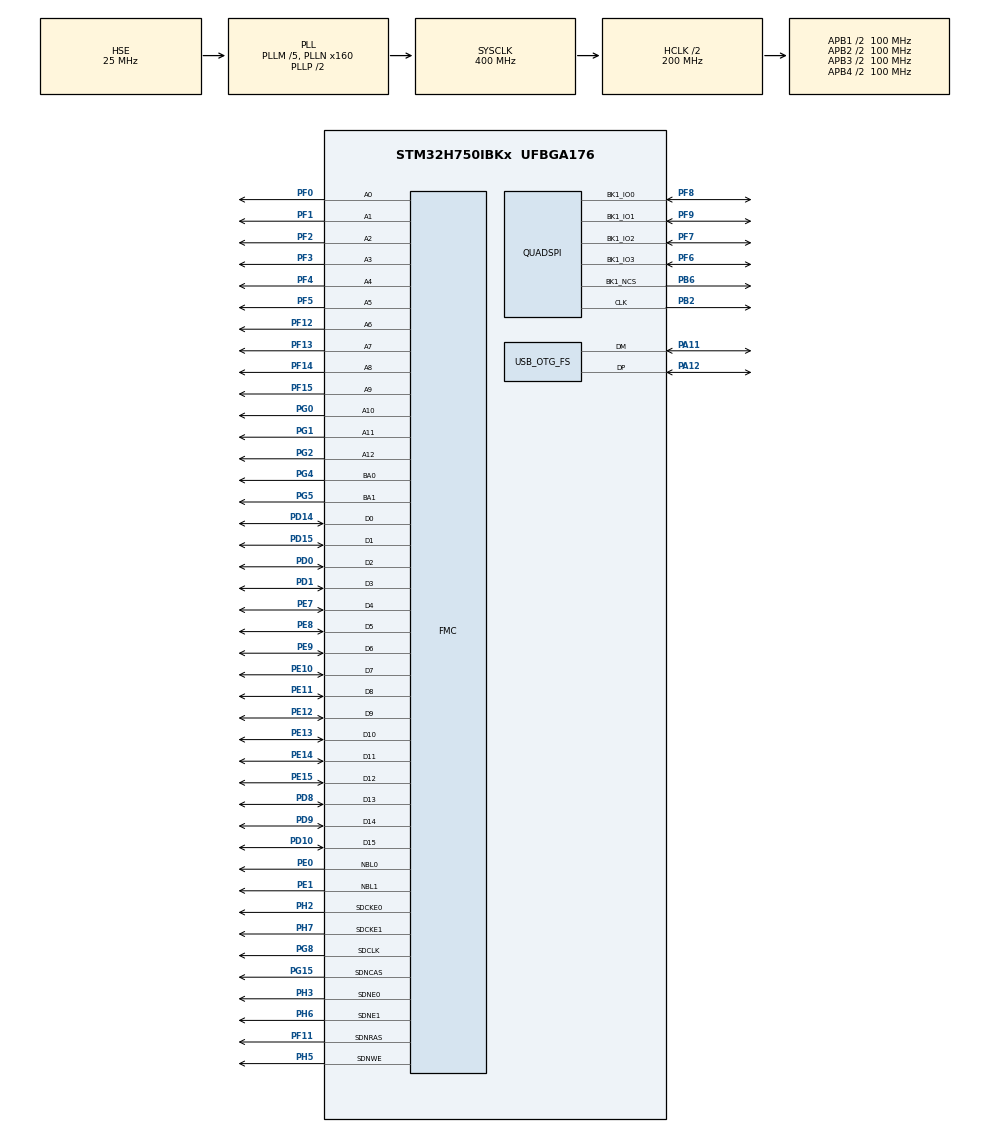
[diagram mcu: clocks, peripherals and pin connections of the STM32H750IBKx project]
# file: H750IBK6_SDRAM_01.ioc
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CORTEX_M7.AccessPermission-Cortex_Memory_Protection_Unit_Region0_Settings=MPU_REGION_FULL_ACCESS
CORTEX_M7.AccessPermission-Cortex_Memory_Protection_Unit_Region1_Settings=MPU_REGION_FULL_ACCESS
CORTEX_M7.AccessPermission-Cortex_Memory_Protection_Unit_Region2_Settings=MPU_REGION_FULL_ACCESS
CORTEX_M7.AccessPermission-Cortex_Memory_Protection_Unit_Region3_Settings=MPU_REGION_FULL_ACCESS
CORTEX_M7.AccessPermission-Cortex_Memory_Protection_Unit_Region4_Settings=MPU_REGION_FULL_ACCESS
CORTEX_M7.AccessPermission-Cortex_Memory_Protection_Unit_Region5_Settings=MPU_REGION_FULL_ACCESS
CORTEX_M7.AccessPermission-Cortex_Memory_Protection_Unit_Region6_Settings=MPU_REGION_FULL_ACCESS
CORTEX_M7.AccessPermission-Cortex_Memory_Protection_Unit_Region7_Settings=MPU_REGION_FULL_ACCESS
CORTEX_M7.AccessPermission-Cortex_Memory_Protection_Unit_Region8_Settings=MPU_REGION_FULL_ACCESS
CORTEX_M7.BaseAddress-Cortex_Memory_Protection_Unit_Region0_Settings=0x24000000
CORTEX_M7.BaseAddress-Cortex_Memory_Protection_Unit_Region1_Settings=0x60000000
CORTEX_M7.BaseAddress-Cortex_Memory_Protection_Unit_Region2_Settings=0x30000000
CORTEX_M7.BaseAddress-Cortex_Memory_Protection_Unit_Region3_Settings=0x30020000
CORTEX_M7.BaseAddress-Cortex_Memory_Protection_Unit_Region4_Settings=0x30040000
CORTEX_M7.BaseAddress-Cortex_Memory_Protection_Unit_Region5_Settings=0x38000000
CORTEX_M7.BaseAddress-Cortex_Memory_Protection_Unit_Region6_Settings=0x90000000
CORTEX_M7.BaseAddress-Cortex_Memory_Protection_Unit_Region7_Settings=SDRAM_BANK1_ADDR
CORTEX_M7.BaseAddress-Cortex_Memory_Protection_Unit_Region8_Settings=SDRAM_BANK2_ADDR
CORTEX_M7.CPU_DCache=Enabled
CORTEX_M7.CPU_ICache=Enabled
CORTEX_M7.Enable-Cortex_Memory_Protection_Unit_Region0_Settings=MPU_REGION_ENABLE
CORTEX_M7.Enable-Cortex_Memory_Protection_Unit_Region1_Settings=MPU_REGION_ENABLE
CORTEX_M7.Enable-Cortex_Memory_Protection_Unit_Region2_Settings=MPU_REGION_ENABLE
CORTEX_M7.Enable-Cortex_Memory_Protection_Unit_Region3_Settings=MPU_REGION_ENABLE
CORTEX_M7.Enable-Cortex_Memory_Protection_Unit_Region4_Settings=MPU_REGION_ENABLE
CORTEX_M7.Enable-Cortex_Memory_Protection_Unit_Region5_Settings=MPU_REGION_ENABLE
CORTEX_M7.Enable-Cortex_Memory_Protection_Unit_Region6_Settings=MPU_REGION_ENABLE
CORTEX_M7.Enable-Cortex_Memory_Protection_Unit_Region7_Settings=MPU_REGION_ENABLE
CORTEX_M7.Enable-Cortex_Memory_Protection_Unit_Region8_Settings=MPU_REGION_ENABLE
CORTEX_M7.IsBufferable-Cortex_Memory_Protection_Unit_Region0_Settings=MPU_ACCESS_BUFFERABLE
CORTEX_M7.IsBufferable-Cortex_Memory_Protection_Unit_Region1_Settings=MPU_ACCESS_BUFFERABLE
CORTEX_M7.IsBufferable-Cortex_Memory_Protection_Unit_Region6_Settings=MPU_ACCESS_BUFFERABLE
CORTEX_M7.IsCacheable-Cortex_Memory_Protection_Unit_Region0_Settings=MPU_ACCESS_CACHEABLE
CORTEX_M7.IsCacheable-Cortex_Memory_Protection_Unit_Region2_Settings=MPU_ACCESS_CACHEABLE
CORTEX_M7.IsCacheable-Cortex_Memory_Protection_Unit_Region3_Settings=MPU_ACCESS_CACHEABLE
CORTEX_M7.IsCacheable-Cortex_Memory_Protection_Unit_Region4_Settings=MPU_ACCESS_CACHEABLE
CORTEX_M7.IsCacheable-Cortex_Memory_Protection_Unit_Region5_Settings=MPU_ACCESS_CACHEABLE
CORTEX_M7.IsCacheable-Cortex_Memory_Protection_Unit_Region6_Settings=MPU_ACCESS_CACHEABLE
CORTEX_M7.IsCacheable-Cortex_Memory_Protection_Unit_Region7_Settings=MPU_ACCESS_CACHEABLE
CORTEX_M7.IsCacheable-Cortex_Memory_Protection_Unit_Region8_Settings=MPU_ACCESS_CACHEABLE
CORTEX_M7.MPU_Control=MPU_PRIVILEGED_DEFAULT
CORTEX_M7.Size-Cortex_Memory_Protection_Unit_Region0_Settings=MPU_REGION_SIZE_512KB
CORTEX_M7.Size-Cortex_Memory_Protection_Unit_Region1_Settings=MPU_REGION_SIZE_256MB
CORTEX_M7.Size-Cortex_Memory_Protection_Unit_Region2_Settings=MPU_REGION_SIZE_128KB
CORTEX_M7.Size-Cortex_Memory_Protection_Unit_Region3_Settings=MPU_REGION_SIZE_128KB
CORTEX_M7.Size-Cortex_Memory_Protection_Unit_Region4_Settings=MPU_REGION_SIZE_32KB
CORTEX_M7.Size-Cortex_Memory_Protection_Unit_Region5_Settings=MPU_REGION_SIZE_64KB
CORTEX_M7.Size-Cortex_Memory_Protection_Unit_Region6_Settings=MPU_REGION_SIZE_32MB
CORTEX_M7.Size-Cortex_Memory_Protection_Unit_Region7_Settings=MPU_REGION_SIZE_32MB
CORTEX_M7.Size-Cortex_Memory_Protection_Unit_Region8_Settings=MPU_REGION_SIZE_32MB
CORTEX_M7.TypeExtField-Cortex_Memory_Protection_Unit_Region0_Settings=MPU_TEX_LEVEL1
CORTEX_M7.TypeExtField-Cortex_Memory_Protection_Unit_Region6_Settings=MPU_TEX_LEVEL1
CORTEX_M7.default_mode_Activation=0
FMC.CASLatency1=FMC_SDRAM_CAS_LATENCY_3
FMC.CASLatency2=FMC_SDRAM_CAS_LATENCY_3
FMC.ColumnBitsNumber1=FMC_SDRAM_COLUMN_BITS_NUM_9
FMC.ColumnBitsNumber2=FMC_SDRAM_COLUMN_BITS_NUM_9
FMC.ExitSelfRefreshDelay1=7
FMC.ExitSelfRefreshDelay2=7
FMC.LoadToActiveDelay1=2
FMC.LoadToActiveDelay2=2
FMC.RCDDelay1=2
FMC.RCDDelay2=2
FMC.RPDelay1=2
FMC.RPDelay2=2
FMC.ReadBurst1=FMC_SDRAM_RBURST_ENABLE
FMC.ReadBurst2=FMC_SDRAM_RBURST_ENABLE
FMC.ReadPipeDelay1=FMC_SDRAM_RPIPE_DELAY_1
FMC.ReadPipeDelay2=FMC_SDRAM_RPIPE_DELAY_1
FMC.RowCycleDelay1=6
FMC.RowCycleDelay2=6
FMC.SDClockPeriod1=FMC_SDRAM_CLOCK_PERIOD_2
FMC.SDClockPeriod2=FMC_SDRAM_CLOCK_PERIOD_2
FMC.SelfRefreshTime1=4
FMC.SelfRefreshTime2=4
FMC.WriteRecoveryTime1=2
FMC.WriteRecoveryTime2=2
FREERTOS.Tasks01=defaultTask,24,512,StartDefaultTask,Default,NULL,Dynamic,NULL,NULL
FREERTOS.configGENERATE_RUN_TIME_STATS=1
FREERTOS.configMAX_TASK_NAME_LEN=32
FREERTOS.configTOTAL_HEAP_SIZE=65536
FREERTOS.configUSE_NEWLIB_REENTRANT=1
FREERTOS.configUSE_STATS_FORMATTING_FUNCTIONS=1
FREERTOS.copyHeapFile=0
Mcu.Family=STM32H7
Mcu.Name=STM32H750IBKx
Mcu.Package=UFBGA176
Mcu.UserConstants=QSPI_FLASH_SIZE_2N_OFFSET,0;SDRAM_BANK1_ADDR,0xC0000000;SDRAM_BANK2_ADDR,0xD0000000
NVIC.OTG_FS_IRQn=true\:5\:0\:false\:false\:true\:true\:false\:true\:true
NVIC.PriorityGroup=NVIC_PRIORITYGROUP_4
NVIC.TIM6_DAC_IRQn=true\:15\:0\:false\:false\:true\:false\:true\:true\:true
NVIC.TIM7_IRQn=true\:5\:0\:false\:false\:true\:false\:true\:true\:true
NVIC.TimeBase=TIM6_DAC_IRQn
NVIC.TimeBaseIP=TIM6
PA11.Mode=Device_Only
PA11.Signal=USB_OTG_FS_DM
PA12.Mode=Device_Only
PA12.Signal=USB_OTG_FS_DP
PA13\ (JTMS/SWDIO).Mode=Serial_Wire
PA13\ (JTMS/SWDIO).Signal=DEBUG_JTMS-SWDIO
PA14\ (JTCK/SWCLK).Mode=Serial_Wire
PA14\ (JTCK/SWCLK).Signal=DEBUG_JTCK-SWCLK
PB2.GPIO_Speed=GPIO_SPEED_FREQ_VERY_HIGH
PB2.Mode=Single Bank 1
PB2.Signal=QUADSPI_CLK
PB6.GPIO_Speed=GPIO_SPEED_FREQ_VERY_HIGH
PB6.Mode=Single Bank 1
PB6.Signal=QUADSPI_BK1_NCS
PC14-OSC32_IN\ (OSC32_IN).Mode=LSE-External-Oscillator
PC14-OSC32_IN\ (OSC32_IN).Signal=RCC_OSC32_IN
PC15-OSC32_OUT\ (OSC32_OUT).Mode=LSE-External-Oscillator
PC15-OSC32_OUT\ (OSC32_OUT).Signal=RCC_OSC32_OUT
PD0.Signal=FMC_D2_DA2
PD1.Signal=FMC_D3_DA3
PD10.Signal=FMC_D15_DA15
PD14.Signal=FMC_D0_DA0
PD15.Signal=FMC_D1_DA1
PD8.Signal=FMC_D13_DA13
PD9.Signal=FMC_D14_DA14
PE0.Signal=FMC_NBL0
PE1.Signal=FMC_NBL1
PE10.Signal=FMC_D7_DA7
PE11.Signal=FMC_D8_DA8
PE12.Signal=FMC_D9_DA9
PE13.Signal=FMC_D10_DA10
PE14.Signal=FMC_D11_DA11
PE15.Signal=FMC_D12_DA12
PE7.Signal=FMC_D4_DA4
PE8.Signal=FMC_D5_DA5
PE9.Signal=FMC_D6_DA6
PF0.Signal=FMC_A0
PF1.Signal=FMC_A1
PF11.Signal=FMC_SDNRAS
PF12.Signal=FMC_A6
PF13.Signal=FMC_A7
PF14.Signal=FMC_A8
PF15.Signal=FMC_A9
PF2.Signal=FMC_A2
PF3.Signal=FMC_A3
PF4.Signal=FMC_A4
PF5.Signal=FMC_A5
PF6.GPIO_Speed=GPIO_SPEED_FREQ_VERY_HIGH
PF6.Mode=Single Bank 1
PF6.Signal=QUADSPI_BK1_IO3
PF7.GPIO_Speed=GPIO_SPEED_FREQ_VERY_HIGH
PF7.Mode=Single Bank 1
PF7.Signal=QUADSPI_BK1_IO2
PF8.GPIO_Speed=GPIO_SPEED_FREQ_VERY_HIGH
PF8.Mode=Single Bank 1
PF8.Signal=QUADSPI_BK1_IO0
PF9.GPIO_Speed=GPIO_SPEED_FREQ_VERY_HIGH
PF9.Mode=Single Bank 1
PF9.Signal=QUADSPI_BK1_IO1
PG0.Signal=FMC_A10
PG1.Signal=FMC_A11
PG15.Signal=FMC_SDNCAS
PG2.Signal=FMC_A12
PG4.Signal=FMC_A14_BA0
PG5.Signal=FMC_A15_BA1
PG8.Signal=FMC_SDCLK
PH0-OSC_IN\ (PH0).Mode=HSE-External-Clock-Source
PH0-OSC_IN\ (PH0).Signal=RCC_OSC_IN
PH2.Mode=SdramChipSelect1_1
PH2.Signal=FMC_SDCKE0
PH3.Mode=SdramChipSelect1_1
PH3.Signal=FMC_SDNE0
PH5.Signal=FMC_SDNWE
PH6.Mode=SdramChipSelect2_2
PH6.Signal=FMC_SDNE1
PH7.Mode=SdramChipSelect2_2
PH7.Signal=FMC_SDCKE1
ProjectManager.HeapSize=0x200
ProjectManager.StackSize=0x400
ProjectManager.TargetToolchain=STM32CubeIDE
QUADSPI.ChipSelectHighTime=QSPI_CS_HIGH_TIME_2_CYCLE
QUADSPI.ClockPrescaler=1
QUADSPI.FifoThreshold=32
QUADSPI.FlashSize=QSPI_FLASH_SIZE_2N_OFFSET
QUADSPI.SampleShifting=QSPI_SAMPLE_SHIFTING_HALFCYCLE
RCC.ADCFreq_Value=50390625
RCC.APB1Freq_Value=100000000
RCC.APB2Freq_Value=100000000
RCC.APB3Freq_Value=100000000
RCC.APB4Freq_Value=100000000
RCC.CortexFreq_Value=400000000
RCC.D1PPRE=RCC_APB3_DIV2
RCC.D2PPRE1=RCC_APB1_DIV2
RCC.D2PPRE2=RCC_APB2_DIV2
RCC.D3PPRE=RCC_APB4_DIV2
RCC.DIVM1=5
RCC.DIVM3=25
RCC.DIVN1=160
RCC.DIVN3=240
RCC.DIVQ3=5
RCC.HCLKFreq_Value=200000000
RCC.HPRE=RCC_HCLK_DIV2
RCC.PLLSourceVirtual=RCC_PLLSOURCE_HSE
RCC.SYSCLKFreq_VALUE=400000000
RCC.SYSCLKSource=RCC_SYSCLKSOURCE_PLLCLK
RCC.USBCLockSelection=RCC_USBCLKSOURCE_HSI48
RCC.USBFreq_Value=48000000
SH.FMC_A0.0=FMC_A0,13b-sda1
SH.FMC_A0.1=FMC_A0,13b-sda2
SH.FMC_A1.0=FMC_A1,13b-sda1
SH.FMC_A1.1=FMC_A1,13b-sda2
SH.FMC_A10.0=FMC_A10,13b-sda1
SH.FMC_A10.1=FMC_A10,13b-sda2
SH.FMC_A11.0=FMC_A11,13b-sda1
SH.FMC_A11.1=FMC_A11,13b-sda2
SH.FMC_A12.0=FMC_A12,13b-sda1
SH.FMC_A12.1=FMC_A12,13b-sda2
SH.FMC_A14_BA0.0=FMC_BA0,FourSdramBanks1
SH.FMC_A14_BA0.1=FMC_BA0,FourSdramBanks2
SH.FMC_A15_BA1.0=FMC_BA1,FourSdramBanks1
SH.FMC_A15_BA1.1=FMC_BA1,FourSdramBanks2
SH.FMC_A2.0=FMC_A2,13b-sda1
SH.FMC_A2.1=FMC_A2,13b-sda2
SH.FMC_A3.0=FMC_A3,13b-sda1
SH.FMC_A3.1=FMC_A3,13b-sda2
SH.FMC_A4.0=FMC_A4,13b-sda1
SH.FMC_A4.1=FMC_A4,13b-sda2
SH.FMC_A5.0=FMC_A5,13b-sda1
SH.FMC_A5.1=FMC_A5,13b-sda2
SH.FMC_A6.0=FMC_A6,13b-sda1
SH.FMC_A6.1=FMC_A6,13b-sda2
SH.FMC_A7.0=FMC_A7,13b-sda1
SH.FMC_A7.1=FMC_A7,13b-sda2
SH.FMC_A8.0=FMC_A8,13b-sda1
SH.FMC_A8.1=FMC_A8,13b-sda2
SH.FMC_A9.0=FMC_A9,13b-sda1
SH.FMC_A9.1=FMC_A9,13b-sda2
SH.FMC_D0_DA0.0=FMC_D0,sd-16b-d1
SH.FMC_D0_DA0.1=FMC_D0,sd-16b-d2
SH.FMC_D10_DA10.0=FMC_D10,sd-16b-d1
SH.FMC_D10_DA10.1=FMC_D10,sd-16b-d2
SH.FMC_D11_DA11.0=FMC_D11,sd-16b-d1
SH.FMC_D11_DA11.1=FMC_D11,sd-16b-d2
SH.FMC_D12_DA12.0=FMC_D12,sd-16b-d1
SH.FMC_D12_DA12.1=FMC_D12,sd-16b-d2
SH.FMC_D13_DA13.0=FMC_D13,sd-16b-d1
SH.FMC_D13_DA13.1=FMC_D13,sd-16b-d2
SH.FMC_D14_DA14.0=FMC_D14,sd-16b-d1
SH.FMC_D14_DA14.1=FMC_D14,sd-16b-d2
SH.FMC_D15_DA15.0=FMC_D15,sd-16b-d1
SH.FMC_D15_DA15.1=FMC_D15,sd-16b-d2
SH.FMC_D1_DA1.0=FMC_D1,sd-16b-d1
SH.FMC_D1_DA1.1=FMC_D1,sd-16b-d2
SH.FMC_D2_DA2.0=FMC_D2,sd-16b-d1
SH.FMC_D2_DA2.1=FMC_D2,sd-16b-d2
SH.FMC_D3_DA3.0=FMC_D3,sd-16b-d1
SH.FMC_D3_DA3.1=FMC_D3,sd-16b-d2
SH.FMC_D4_DA4.0=FMC_D4,sd-16b-d1
SH.FMC_D4_DA4.1=FMC_D4,sd-16b-d2
SH.FMC_D5_DA5.0=FMC_D5,sd-16b-d1
SH.FMC_D5_DA5.1=FMC_D5,sd-16b-d2
SH.FMC_D6_DA6.0=FMC_D6,sd-16b-d1
SH.FMC_D6_DA6.1=FMC_D6,sd-16b-d2
SH.FMC_D7_DA7.0=FMC_D7,sd-16b-d1
SH.FMC_D7_DA7.1=FMC_D7,sd-16b-d2
SH.FMC_D8_DA8.0=FMC_D8,sd-16b-d1
SH.FMC_D8_DA8.1=FMC_D8,sd-16b-d2
SH.FMC_D9_DA9.0=FMC_D9,sd-16b-d1
SH.FMC_D9_DA9.1=FMC_D9,sd-16b-d2
SH.FMC_NBL0.0=FMC_NBL0,Sd2ByteEnable1
SH.FMC_NBL0.1=FMC_NBL0,Sd2ByteEnable2
SH.FMC_NBL1.0=FMC_NBL1,Sd2ByteEnable1
SH.FMC_NBL1.1=FMC_NBL1,Sd2ByteEnable2
SH.FMC_SDCLK.0=FMC_SDCLK,13b-sda1
SH.FMC_SDCLK.1=FMC_SDCLK,13b-sda2
SH.FMC_SDNCAS.0=FMC_SDNCAS,13b-sda1
SH.FMC_SDNCAS.1=FMC_SDNCAS,13b-sda2
SH.FMC_SDNRAS.0=FMC_SDNRAS,13b-sda1
SH.FMC_SDNRAS.1=FMC_SDNRAS,13b-sda2
SH.FMC_SDNWE.0=FMC_SDNWE,13b-sda1
SH.FMC_SDNWE.1=FMC_SDNWE,13b-sda2
TIM7.Period=50 - 1
TIM7.Prescaler=200 - 1
USB_DEVICE.APP_RX_DATA_SIZE-CDC_FS=2048
USB_DEVICE.APP_TX_DATA_SIZE-CDC_FS=2048
USB_DEVICE.CLASS_NAME_FS=CDC
USB_DEVICE.VirtualMode-CDC_FS=Cdc
USB_DEVICE.VirtualModeFS=Cdc_FS
USB_OTG_FS.VirtualMode=Device_Only
VP_FREERTOS_VS_CMSIS_V2.Mode=CMSIS_V2
VP_SYS_VS_tim6.Mode=TIM6
VP_TIM3_VS_ClockSourceINT.Mode=Internal
VP_TIM7_VS_ClockSourceINT.Mode=Enable_Timer
VP_USB_DEVICE_VS_USB_DEVICE_CDC_FS.Mode=CDC_FS
board=custom

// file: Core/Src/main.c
/* USER CODE BEGIN Header */
/**
  ******************************************************************************
  * @file           : main.c
  * @brief          : Main program body
  ******************************************************************************
  * @attention
  *
  * Copyright (c) 2023 STMicroelectronics.
  * All rights reserved.
  *
  * This software is licensed under terms that can be found in the LICENSE file
  * in the root directory of this software component.
  * If no LICENSE file comes with this software, it is provided AS-IS.
  *
  ******************************************************************************
  */
/* USER CODE END Header */
#include "main.h"
#include "cmsis_os.h"
#include "quadspi.h"
#include "tim.h"
#include "usb_device.h"
#include "gpio.h"
#include "fmc.h"

/* USER CODE BEGIN Includes */
#include "usbd_cdc_if.h"

/* USER CODE END Includes */

void SystemClock_Config(void);
static void MPU_Config(void);
void MX_FREERTOS_Init(void);

int main(void)
{
  /* USER CODE BEGIN 1 */
    /* Operation interrupt vector table begin ----------------------------------*/
  //#define INTERNAL_FLASH_BOOTLOADER_JUMP_TO_QSPI_FLASH_APP

  #if defined(INTERNAL_FLASH_BOOTLOADER_JUMP_TO_QSPI_FLASH_APP)
      /** 将当前使用的内部flash里的中断向量表改为外部QSPI Flash里的中断向量�??????
        * Change the currently used interrupt vector table in the internal flash
        * to the interrupt vector table in the external QSPI Flash
        */
      SCB->VTOR = (uint32_t *)QSPI_BASE;
  #endif

  #define COPY_VECTORTABLE_TO_DTCM

  #if defined(COPY_VECTORTABLE_TO_DTCM)
  #if defined(INTERNAL_FLASH_BOOTLOADER_JUMP_TO_QSPI_FLASH_APP)
      uint32_t *SouceAddr = (uint32_t *)QSPI_BASE;
  #else
      uint32_t *SouceAddr = (uint32_t *)FLASH_BANK1_BASE;
  #endif
      uint32_t *DestAddr = (uint32_t *)D1_DTCMRAM_BASE;
      memcpy(DestAddr, SouceAddr, 0x400);

      /** 设置当前的中断向量表�?????? ITCM 里复制好的中断向量表副本
        * Set the current interrupt vector table as a copy of the copied interrupt
        * vector table in ITCM
        */
      SCB->VTOR = D1_DTCMRAM_BASE;
  #endif
    /* Operation interrupt vector table end ------------------------------------*/

  /* USER CODE END 1 */

  /* MPU Configuration--------------------------------------------------------*/
  MPU_Config();

  /* Enable I-Cache---------------------------------------------------------*/
  SCB_EnableICache();

  /* Enable D-Cache---------------------------------------------------------*/
  SCB_EnableDCache();

  /* MCU Configuration--------------------------------------------------------*/

  /* Reset of all peripherals, Initializes the Flash interface and the Systick. */
  HAL_Init();

  /* USER CODE BEGIN Init */
  USB_Status_Init();

  /* USER CODE END Init */

  /* Configure the system clock */
  SystemClock_Config();

  /* Initialize all configured peripherals */
  MX_GPIO_Init();
  MX_QUADSPI_Init();
  MX_TIM7_Init();
  MX_TIM3_Init();
  MX_FMC_Init();

  /* Init scheduler */
  osKernelInitialize();  /* Call init function for freertos objects (in freertos.c) */
  MX_FREERTOS_Init();

  /* Start scheduler */
  osKernelStart();
  /* We should never get here as control is now taken by the scheduler */
  /* Infinite loop */
  while (1)
  {

  }
}

void SystemClock_Config(void)
{
  RCC_OscInitTypeDef RCC_OscInitStruct = {0};
  RCC_ClkInitTypeDef RCC_ClkInitStruct = {0};

  /** Supply configuration update enable
  */
  HAL_PWREx_ConfigSupply(PWR_LDO_SUPPLY);

  /** Configure the main internal regulator output voltage
  */
  __HAL_PWR_VOLTAGESCALING_CONFIG(PWR_REGULATOR_VOLTAGE_SCALE1);

  while(!__HAL_PWR_GET_FLAG(PWR_FLAG_VOSRDY)) {}

  /** Initializes the RCC Oscillators according to the specified parameters
  * in the RCC_OscInitTypeDef structure.
  */
  RCC_OscInitStruct.OscillatorType = RCC_OSCILLATORTYPE_HSI48|RCC_OSCILLATORTYPE_HSE;
  RCC_OscInitStruct.HSEState = RCC_HSE_BYPASS;
  RCC_OscInitStruct.HSI48State = RCC_HSI48_ON;
  RCC_OscInitStruct.PLL.PLLState = RCC_PLL_ON;
  RCC_OscInitStruct.PLL.PLLSource = RCC_PLLSOURCE_HSE;
  RCC_OscInitStruct.PLL.PLLM = 5;
  RCC_OscInitStruct.PLL.PLLN = 160;
  RCC_OscInitStruct.PLL.PLLP = 2;
  RCC_OscInitStruct.PLL.PLLQ = 2;
  RCC_OscInitStruct.PLL.PLLR = 2;
  RCC_OscInitStruct.PLL.PLLRGE = RCC_PLL1VCIRANGE_2;
  RCC_OscInitStruct.PLL.PLLVCOSEL = RCC_PLL1VCOWIDE;
  RCC_OscInitStruct.PLL.PLLFRACN = 0;
  if (HAL_RCC_OscConfig(&RCC_OscInitStruct) != HAL_OK)
  {
    Error_Handler();
  }

  /** Initializes the CPU, AHB and APB buses clocks
  */
  RCC_ClkInitStruct.ClockType = RCC_CLOCKTYPE_HCLK|RCC_CLOCKTYPE_SYSCLK
                              |RCC_CLOCKTYPE_PCLK1|RCC_CLOCKTYPE_PCLK2
                              |RCC_CLOCKTYPE_D3PCLK1|RCC_CLOCKTYPE_D1PCLK1;
  RCC_ClkInitStruct.SYSCLKSource = RCC_SYSCLKSOURCE_PLLCLK;
  RCC_ClkInitStruct.SYSCLKDivider = RCC_SYSCLK_DIV1;
  RCC_ClkInitStruct.AHBCLKDivider = RCC_HCLK_DIV2;
  RCC_ClkInitStruct.APB3CLKDivider = RCC_APB3_DIV2;
  RCC_ClkInitStruct.APB1CLKDivider = RCC_APB1_DIV2;
  RCC_ClkInitStruct.APB2CLKDivider = RCC_APB2_DIV2;
  RCC_ClkInitStruct.APB4CLKDivider = RCC_APB4_DIV2;

  if (HAL_RCC_ClockConfig(&RCC_ClkInitStruct, FLASH_LATENCY_2) != HAL_OK)
  {
    Error_Handler();
  }
}

/* USER CODE BEGIN 4 */
volatile uint8_t tim17_transmissionReceived = 0;
volatile uint32_t ulHighFrequencyTimerTicks = 0UL;  /* FreeRTOS variables for statistical CPU utilization */

void configureTimerForRunTimeStats(void) {
    ulHighFrequencyTimerTicks = 0UL;
}

unsigned long getRunTimeCounterValue(void) {
    return ulHighFrequencyTimerTicks;
}

void _Error_Handler(const char * file, uint32_t line)
{
  /* USER CODE BEGIN Error_Handler_Debug */
  /* User can add his own implementation to report the HAL error return state */
  __disable_irq();
  while (1)
  {
  }
  /* USER CODE END Error_Handler_Debug */
}

/* USER CODE END 4 */

/* MPU Configuration */

void MPU_Config(void)
{
  MPU_Region_InitTypeDef MPU_InitStruct = {0};

  /* Disables the MPU */
  HAL_MPU_Disable();

  /** Initializes and configures the Region and the memory to be protected
  */
  MPU_InitStruct.Enable = MPU_REGION_ENABLE;
  MPU_InitStruct.Number = MPU_REGION_NUMBER0;
  MPU_InitStruct.BaseAddress = 0x24000000;
  MPU_InitStruct.Size = MPU_REGION_SIZE_512KB;
  MPU_InitStruct.SubRegionDisable = 0x0;
  MPU_InitStruct.TypeExtField = MPU_TEX_LEVEL1;
  MPU_InitStruct.AccessPermission = MPU_REGION_FULL_ACCESS;
  MPU_InitStruct.DisableExec = MPU_INSTRUCTION_ACCESS_ENABLE;
  MPU_InitStruct.IsShareable = MPU_ACCESS_NOT_SHAREABLE;
  MPU_InitStruct.IsCacheable = MPU_ACCESS_CACHEABLE;
  MPU_InitStruct.IsBufferable = MPU_ACCESS_BUFFERABLE;

  HAL_MPU_ConfigRegion(&MPU_InitStruct);

  /** Initializes and configures the Region and the memory to be protected
  */
  MPU_InitStruct.Number = MPU_REGION_NUMBER1;
  MPU_InitStruct.BaseAddress = 0x60000000;
  MPU_InitStruct.Size = MPU_REGION_SIZE_256MB;
  MPU_InitStruct.TypeExtField = MPU_TEX_LEVEL0;
  MPU_InitStruct.IsCacheable = MPU_ACCESS_NOT_CACHEABLE;

  HAL_MPU_ConfigRegion(&MPU_InitStruct);

  /** Initializes and configures the Region and the memory to be protected
  */
  MPU_InitStruct.Number = MPU_REGION_NUMBER2;
  MPU_InitStruct.BaseAddress = 0x30000000;
  MPU_InitStruct.Size = MPU_REGION_SIZE_128KB;
  MPU_InitStruct.IsCacheable = MPU_ACCESS_CACHEABLE;
  MPU_InitStruct.IsBufferable = MPU_ACCESS_NOT_BUFFERABLE;

  HAL_MPU_ConfigRegion(&MPU_InitStruct);

  /** Initializes and configures the Region and the memory to be protected
  */
  MPU_InitStruct.Number = MPU_REGION_NUMBER3;
  MPU_InitStruct.BaseAddress = 0x30020000;

  HAL_MPU_ConfigRegion(&MPU_InitStruct);

  /** Initializes and configures the Region and the memory to be protected
  */
  MPU_InitStruct.Number = MPU_REGION_NUMBER4;
  MPU_InitStruct.BaseAddress = 0x30040000;
  MPU_InitStruct.Size = MPU_REGION_SIZE_32KB;

  HAL_MPU_ConfigRegion(&MPU_InitStruct);

  /** Initializes and configures the Region and the memory to be protected
  */
  MPU_InitStruct.Number = MPU_REGION_NUMBER5;
  MPU_InitStruct.BaseAddress = 0x38000000;
  MPU_InitStruct.Size = MPU_REGION_SIZE_64KB;

  HAL_MPU_ConfigRegion(&MPU_InitStruct);

  /** Initializes and configures the Region and the memory to be protected
  */
  MPU_InitStruct.Number = MPU_REGION_NUMBER6;
  MPU_InitStruct.BaseAddress = 0x90000000;
  MPU_InitStruct.Size = MPU_REGION_SIZE_32MB;
  MPU_InitStruct.TypeExtField = MPU_TEX_LEVEL1;
  MPU_InitStruct.IsBufferable = MPU_ACCESS_BUFFERABLE;

  HAL_MPU_ConfigRegion(&MPU_InitStruct);

  /** Initializes and configures the Region and the memory to be protected
  */
  MPU_InitStruct.Number = MPU_REGION_NUMBER7;
  MPU_InitStruct.BaseAddress = SDRAM_BANK1_ADDR;
  MPU_InitStruct.TypeExtField = MPU_TEX_LEVEL0;
  MPU_InitStruct.IsBufferable = MPU_ACCESS_NOT_BUFFERABLE;

  HAL_MPU_ConfigRegion(&MPU_InitStruct);

  /** Initializes and configures the Region and the memory to be protected
  */
  MPU_InitStruct.Number = MPU_REGION_NUMBER8;
  MPU_InitStruct.BaseAddress = SDRAM_BANK2_ADDR;

  HAL_MPU_ConfigRegion(&MPU_InitStruct);
  /* Enables the MPU */
  HAL_MPU_Enable(MPU_PRIVILEGED_DEFAULT);

}

void HAL_TIM_PeriodElapsedCallback(TIM_HandleTypeDef *htim)
{
  /* USER CODE BEGIN Callback 0 */
    if(htim->Instance == TIM7) {
        ulHighFrequencyTimerTicks++;
    }
  /* USER CODE END Callback 0 */
  if (htim->Instance == TIM6) {
    HAL_IncTick();
  }
}

void Error_Handler(void)
{
  __disable_irq();
  while (1)
  {
  }
}

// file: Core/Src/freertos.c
/* USER CODE BEGIN Header */
/**
  ******************************************************************************
  * File Name          : freertos.c
  * Description        : Code for freertos applications
  ******************************************************************************
  * @attention
  *
  * Copyright (c) 2023 STMicroelectronics.
  * All rights reserved.
  *
  * This software is licensed under terms that can be found in the LICENSE file
  * in the root directory of this software component.
  * If no LICENSE file comes with this software, it is provided AS-IS.
  *
  ******************************************************************************
  */
/* USER CODE END Header */

#include "FreeRTOS.h"
#include "task.h"
#include "main.h"
#include "cmsis_os.h"

/* USER CODE BEGIN Includes */
#include "common_inc.h"
#include "communication.hpp"
/* USER CODE END Includes */

/* USER CODE BEGIN Variables */
osSemaphoreId sem_usb_irq;
osSemaphoreId sem_usb_rx;
osSemaphoreId sem_usb_tx;
const uint32_t UsbIrqTaskStackSize = 128 * 4;

/* USER CODE END Variables */
/* Definitions for defaultTask */
osThreadId_t defaultTaskHandle;
const osThreadAttr_t defaultTask_attributes = {
  .name = "defaultTask",
  .stack_size = 512 * 4,
  .priority = (osPriority_t) osPriorityNormal,
};

void StartDefaultTask(void *argument);

extern void MX_USB_DEVICE_Init(void);
void MX_FREERTOS_Init(void); /* (MISRA C 2004 rule 8.1) */

/* Hook prototypes */
void configureTimerForRunTimeStats(void);
unsigned long getRunTimeCounterValue(void);

/* USER CODE BEGIN 1 */
/* Functions needed when configGENERATE_RUN_TIME_STATS is on */
__weak void configureTimerForRunTimeStats(void)
{

}

__weak unsigned long getRunTimeCounterValue(void)
{
return 0;
}
/* USER CODE END 1 */

void MX_FREERTOS_Init(void) {

  /* USER CODE BEGIN RTOS_SEMAPHORES */
  /* add semaphores, ... */
    // Init usb irq binary semaphore, and start with no tokens by removing the starting one.
    osSemaphoreDef(sem_usb_irq);
    sem_usb_irq = osSemaphoreNew(1, 0, osSemaphore(sem_usb_irq));

    // Create a semaphore for USB RX, and start with no tokens by removing the starting one.
    osSemaphoreDef(sem_usb_rx);
    sem_usb_rx = osSemaphoreNew(1, 0, osSemaphore(sem_usb_rx));

    // Create a semaphore for USB TX
    osSemaphoreDef(sem_usb_tx);
    sem_usb_tx = osSemaphoreNew(1, 1, osSemaphore(sem_usb_tx));
  /* USER CODE END RTOS_SEMAPHORES */

  /* USER CODE BEGIN RTOS_QUEUES */
  /* add queues, ... */
    // This Task must run before MX_USB_DEVICE_Init(), so have to put it here.
    const osThreadAttr_t usbIrqTask_attributes = {
        .name = "usbIrqTask",
        .stack_size = UsbIrqTaskStackSize,
        .priority = (osPriority_t) osPriorityAboveNormal,
    };
    usbIrqTaskHandle = osThreadNew(UsbDeferredInterruptTask, NULL, &usbIrqTask_attributes);
  /* USER CODE END RTOS_QUEUES */

  /* Create the thread(s) */
  /* creation of defaultTask */
  defaultTaskHandle = osThreadNew(StartDefaultTask, NULL, &defaultTask_attributes);

}

void StartDefaultTask(void *argument)
{
  /* init code for USB_DEVICE */
  MX_USB_DEVICE_Init();
  /* USER CODE BEGIN StartDefaultTask */
  /* Infinite loop */
  Main();
  vTaskDelete(defaultTaskHandle);
  /* USER CODE END StartDefaultTask */
}
